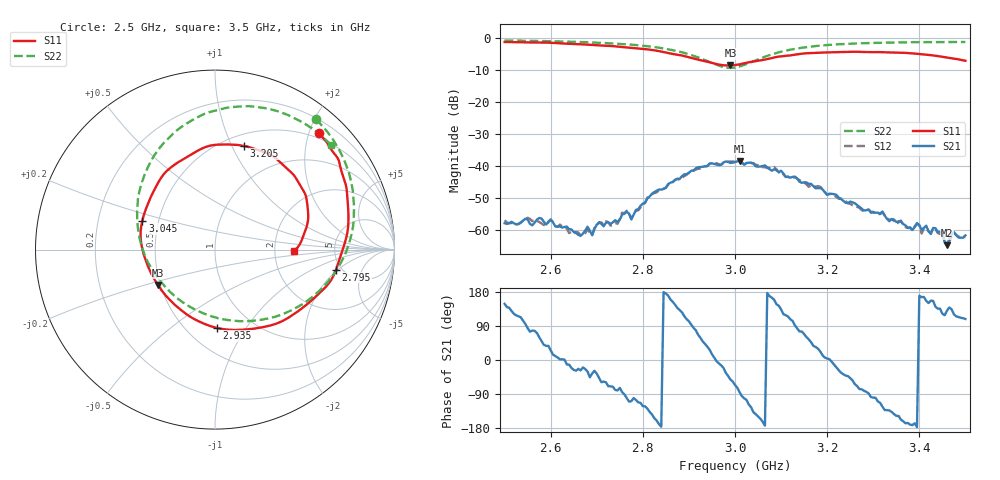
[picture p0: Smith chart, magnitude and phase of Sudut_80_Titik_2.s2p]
# Hz S RI R 50
! CMT, C1220, 16058040, 17.2.0/1
! Date: 15/08/2018 10:48:47
! Data: Format (Calibration Info)
! Freq  S11: Re/Im (F2)  S21: Re/Im (F2)  S12: Re/Im (F2)  S22: Re/Im (F2)
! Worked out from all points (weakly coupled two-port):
!   201 points, 2.5 GHz to 3.5 GHz, reference 50 ohm
!   highest |S21| = -38.30 dB at 3.01 GHz (marker M1); lowest = -64.7 dB at 3.46 GHz (marker M2)
!   lowest |S11| = -8.5 dB at 2.99 GHz (marker M3), VSWR 2.19, Z = 24.2 - j11.1 ohm
!   |S11| at or under -10 dB: nowhere
!   |S22| runs from -9.3 to -0.7 dB; largest |S21 - S12| = 0.0009
!   S11 on the Smith chart (normalised r, x): 2.5 GHz: 0.41, +2.18; 2.795 GHz: 4.50, -1.89; 2.935 GHz: 0.69, -0.74; 3.045 GHz: 0.41, +0.16; 3.205 GHz: 0.62, +1.12; 3.5 GHz: 2.59, -0.05
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2.5e9  0.5806 0.6473  -0.0011 0.000687  -0.00122 0.000761  0.5635 0.7255
2.575e9  0.6718 0.5258  0.00077 0.00136  0.000811 0.00109  0.6465 0.6284
2.67e9  0.7359 0.3102  0.000841 -0.0003  0.000778 -0.000347  0.7369 0.4539
2.69e9  0.7407 0.2459  0.00069 -0.000493  0.000711 -0.000452  0.751 0.4087
2.705e9  0.7433 0.2004  0.000896 -0.000976  0.000939 -0.00096  0.7602 0.3698
2.745e9  0.734 0.0774  0.000224 -0.00133  0.000357 -0.00122  0.7732 0.2603
2.765e9  0.7139 0.00726  -0.000342 -0.00193  -0.000385 -0.002  0.7737 0.1994
2.775e9  0.7027 -0.0277  -0.000474 -0.00141  -0.000471 -0.00144  0.7721 0.1643
2.795e9  0.6744 -0.1117  -0.00096 -0.00223  -0.00092 -0.00209  0.7629 0.0931
2.835e9  0.5746 -0.2498  -0.00427 -0.000823  -0.00412 -0.000913  0.7046 -0.0665
2.935e9  0.00848 -0.4361  0.0074 0.00674  0.00716 0.00709  0.2207 -0.3957
2.99e9  -0.3179 -0.1968  0.00705 -0.00882  0.00753 -0.00915  -0.2127 -0.2698
3e9  -0.356 -0.1324  0.00479 -0.0106  0.00421 -0.0109  -0.2767 -0.2081
3.01e9  -0.3842 -0.0641  0.00105 -0.0121  0.00103 -0.0116  -0.3322 -0.1397
3.045e9  -0.4047 0.1605  -0.00799 -0.006  -0.00833 -0.00646  -0.4306 0.1325
3.17e9  0.0314 0.5853  0.00391 0.00299  0.00373 0.00328  -0.0928 0.7399
3.205e9  0.1622 0.5772  0.00371 0.000128  0.00375 -0.000101  0.0359 0.7838
3.335e9  0.4644 0.3759  -0.000955 -0.00102  -0.00105 -0.00102  0.3924 0.7555
3.435e9  0.513 0.1366  -0.000842 0.000685  -0.000792 0.000703  0.5625 0.6584
3.46e9  0.4915 0.0744  -0.000375 0.000447  -0.000378 0.000425  0.5969 0.6315
3.475e9  0.4773 0.04  -0.000474 0.000804  -0.000521 0.000783  0.6145 0.6141
3.5e9  0.4424 -0.00739  -0.000263 0.000795  -0.000224 0.000758  0.6439 0.5844
